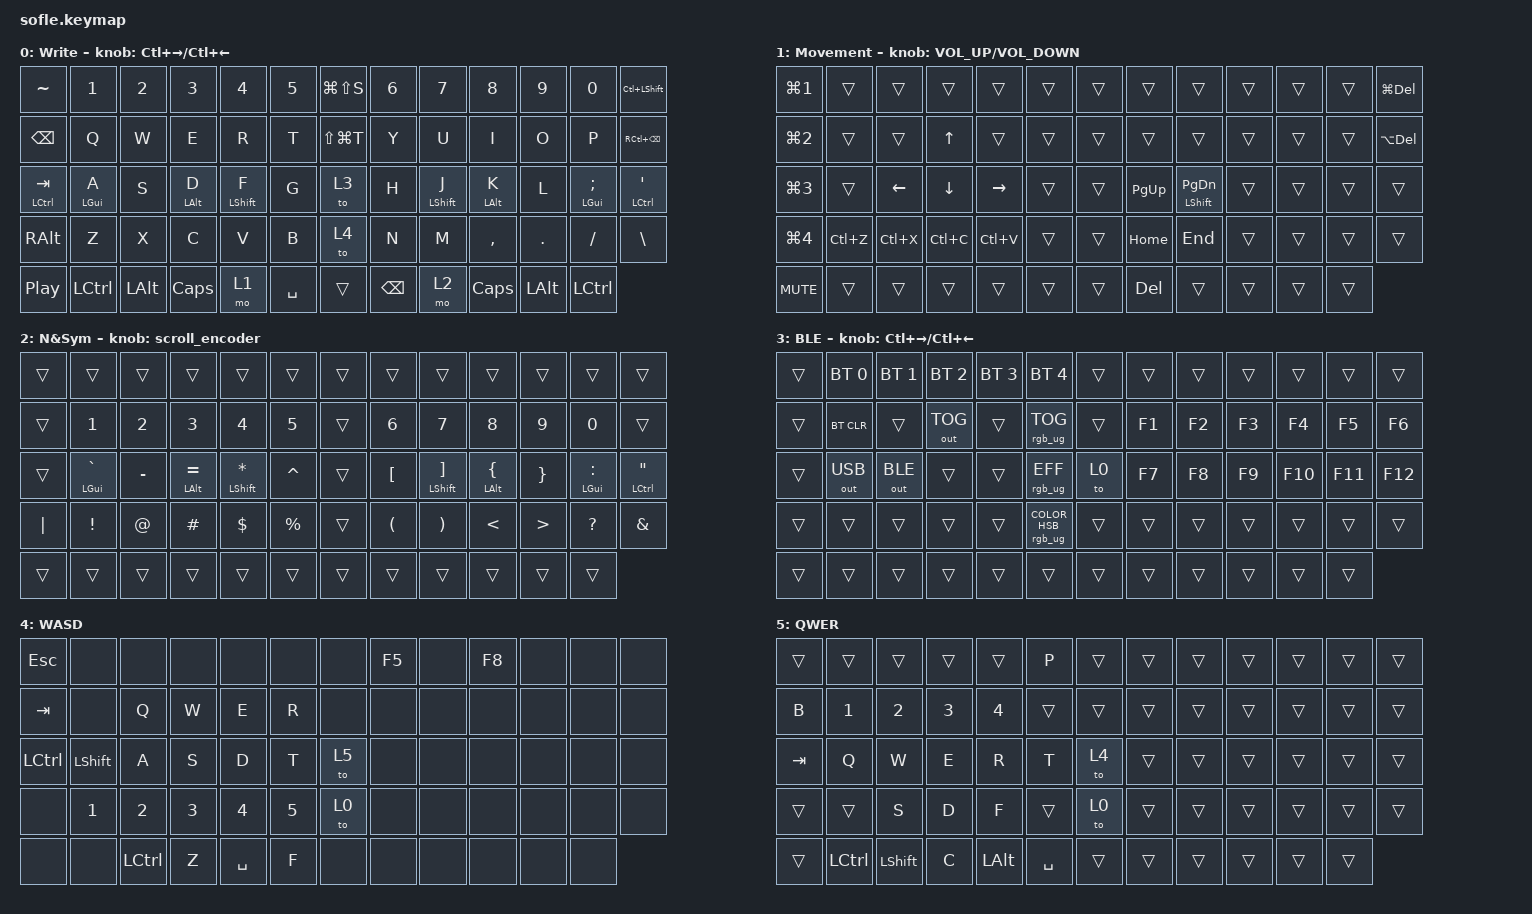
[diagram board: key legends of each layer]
#include <behaviors/mouse_keys.dtsi>
#include <dt-bindings/zmk/mouse.h>
#include <behaviors.dtsi>
#include <dt-bindings/zmk/bt.h>
#include <dt-bindings/zmk/keys.h>
#include <dt-bindings/zmk/outputs.h>
#include <dt-bindings/zmk/pointing.h>
#include <dt-bindings/zmk/rgb.h>

#define ZMK_MOUSE_DEFAULT_MOVE_VAL 1200  // 600
#define ZMK_MOUSE_DEFAULT_SCRL_VAL 20    // 10
#define U_MS_U &mmv MOVE_UP
#define U_MS_D &mmv MOVE_DOWN
#define U_MS_L &mmv MOVE_LEFT
#define U_MS_R &mmv MOVE_RIGHT
#define ZMK_MOUSE_DEFAULT_MOVE_VAL 1200  //  600
#define ZMK_MOUSE_DEFAULT_SCRL_VAL 20    // 10

&mt {
    flavor = "tap-preferred";
    tapping-term-ms = <200>;
};

/ {
    behaviors {
        mmv {
            acceleration-exponent = <1>;      // 1
            time-to-max-speed-ms = <900>;    // 40
            delay-ms = <0>;                   // 0
        };

        msc {
            acceleration-exponent = <1>;      // 0
            time-to-max-speed-ms = <400>;      // 500
            delay-ms = <0>;                   //   10
        };
    };

    scroll_encoder: scroll_encoder {
        compatible = "zmk,behavior-sensor-rotate";
        #sensor-binding-cells = <0>;
        bindings = <&msc SCRL_DOWN>, <&msc SCRL_UP>;

        tap-ms = <30>;
    };

    scroll_keypress: scroll_keypress {
        compatible = "zmk,behavior-sensor-rotate-var";
        label = "SCROLL_KEYPRESS";
        #sensor-binding-cells = <2>;
        bindings = <&kp>, <&kp>;
    };

    combos {
        compatible = "zmk,combos";

        return {
            bindings = <&kp RETURN>;
            key-positions = <34 35 36>;
        };

        combo_esc {
            bindings = <&kp ESCAPE>;
            key-positions = <14 15>;
        };
    };

    keymap {
        compatible = "zmk,keymap";

        QWERTY {
            bindings = <
&kp TILDE             &kp NUMBER_1    &kp NUMBER_2  &kp NUMBER_3    &kp NUMBER_4      &kp N5       &kp LG(LS(S))  &kp NUMBER_6   &kp N7            &kp N8          &kp N9        &kp N0             &kp LC(LEFT_SHIFT)
&kp BACKSPACE         &kp Q           &kp W         &kp E           &kp R             &kp T        &kp LS(LG(T))  &kp Y          &kp U             &kp I           &kp O         &kp P              &kp RC(BACKSPACE)
&mt LEFT_CONTROL TAB  &mt LEFT_GUI A  &kp S         &mt LEFT_ALT D  &mt LEFT_SHIFT F  &kp G        &to 3          &kp H          &mt LEFT_SHIFT J  &mt LEFT_ALT K  &kp L         &mt LEFT_GUI SEMI  &mt LEFT_CONTROL APOS
&kp RIGHT_ALT         &kp Z           &kp X         &kp C           &kp V             &kp B        &to 4          &kp N          &kp M             &kp COMMA       &kp DOT       &kp FSLH           &kp BACKSLASH
&kp C_PLAY_PAUSE      &kp LCTRL       &kp LEFT_ALT  &kp CAPSLOCK    &mo 1             &kp SPACE    &trans         &kp BACKSPACE  &mo 2             &kp CAPSLOCK    &kp LEFT_ALT  &kp LEFT_CONTROL
            >;

            sensor-bindings = <&scroll_keypress LC(RIGHT) LC(LEFT)>;
            display-name = "Write";
        };

        Movement {
            bindings = <
&kp LG(NUMBER_1)  &trans     &trans          &trans          &trans           &trans    &trans  &trans      &trans                    &trans  &trans  &trans  &kp LG(DELETE)
&kp LG(NUMBER_2)  &trans     &trans          &kp UP_ARROW    &trans           &trans    &trans  &trans      &trans                    &trans  &trans  &trans  &kp LA(DELETE)
&kp LG(NUMBER_3)  &trans     &kp LEFT_ARROW  &kp DOWN_ARROW  &kp RIGHT_ARROW  &trans    &trans  &kp PG_UP   &mt LEFT_SHIFT PAGE_DOWN  &trans  &trans  &trans  &trans
&kp LG(NUMBER_4)  &kp LC(Z)  &kp LC(X)       &kp LC(C)       &kp LC(V)        &trans    &trans  &kp HOME    &kp END                   &trans  &trans  &trans  &trans
&kp C_MUTE        &trans     &trans          &trans          &trans           &trans    &trans  &kp DELETE  &trans                    &trans  &trans  &trans
            >;

            display-name = "Movement";
            sensor-bindings = <&inc_dec_kp C_VOLUME_UP C_VOLUME_DOWN>;
        };

        NumsSymbs {
            bindings = <
&trans    &trans              &trans        &trans              &trans                   &trans         &trans  &trans                &trans                        &trans                   &trans            &trans              &trans
&trans    &kp NUMBER_1        &kp NUMBER_2  &kp NUMBER_3        &kp NUMBER_4             &kp N5         &trans  &kp NUMBER_6          &kp N7                        &kp N8                   &kp N9            &kp N0              &trans
&trans    &mt LEFT_GUI GRAVE  &kp MINUS     &mt LEFT_ALT EQUAL  &mt LEFT_SHIFT ASTERISK  &kp CARET      &trans  &kp LEFT_BRACKET      &mt LEFT_SHIFT RIGHT_BRACKET  &mt LEFT_ALT LEFT_BRACE  &kp RIGHT_BRACE   &mt LEFT_GUI COLON  &mt LEFT_CONTROL DOUBLE_QUOTES
&kp PIPE  &kp EXCLAMATION     &kp AT        &kp HASH            &kp DOLLAR               &kp PERCENT    &trans  &kp LEFT_PARENTHESIS  &kp RIGHT_PARENTHESIS         &kp LESS_THAN            &kp GREATER_THAN  &kp QUESTION        &kp AMPERSAND
&trans    &trans              &trans        &trans              &trans                   &trans         &trans  &trans                &trans                        &trans                   &trans            &trans
            >;

            sensor-bindings = <&scroll_encoder>;
            label = "N&Sym";
        };

        BLE {
            bindings = <
&trans  &bt BT_SEL 0  &bt BT_SEL 1  &bt BT_SEL 2  &bt BT_SEL 3  &bt BT_SEL 4                       &trans  &trans  &trans  &trans  &trans   &trans   &trans
&trans  &bt BT_CLR    &trans        &out OUT_TOG  &trans        &rgb_ug RGB_TOG                    &trans  &kp F1  &kp F2  &kp F3  &kp F4   &kp F5   &kp F6
&trans  &out OUT_USB  &out OUT_BLE  &trans        &trans        &rgb_ug RGB_EFF                    &to 0   &kp F7  &kp F8  &kp F9  &kp F10  &kp F11  &kp F12
&trans  &trans        &trans        &trans        &trans        &rgb_ug RGB_COLOR_HSB(54,68,76)    &trans  &trans  &trans  &trans  &trans   &trans   &trans
&trans  &trans        &trans        &trans        &trans        &trans                             &trans  &trans  &trans  &trans  &trans   &trans
            >;

            sensor-bindings = <&scroll_keypress LC(RIGHT) LC(LEFT)>;
            label = "BLE";
        };

        GamingWASD {
            bindings = <
&kp ESCAPE        &none           &none             &none         &none         &none     &none  &kp F5  &none  &kp F8  &none  &none  &none
&kp TAB           &none           &kp Q             &kp W         &kp E         &kp R     &none  &none   &none  &none   &none  &none  &none
&kp LEFT_CONTROL  &kp LEFT_SHIFT  &kp A             &kp S         &kp D         &kp T     &to 5  &none   &none  &none   &none  &none  &none
&none             &kp NUMBER_1    &kp NUMBER_2      &kp NUMBER_3  &kp NUMBER_4  &kp N5    &to 0  &none   &none  &none   &none  &none  &none
&none             &none           &kp LEFT_CONTROL  &kp Z         &kp SPACE     &kp F     &none  &none   &none  &none   &none  &none
            >;

            label = "WASD";
        };

        LoL {
            bindings = <
&trans   &trans            &trans          &trans        &trans        &kp P        &trans  &trans  &trans  &trans  &trans  &trans  &trans
&kp B    &kp NUMBER_1      &kp NUMBER_2    &kp NUMBER_3  &kp NUMBER_4  &trans       &trans  &trans  &trans  &trans  &trans  &trans  &trans
&kp TAB  &kp Q             &kp W           &kp E         &kp R         &kp T        &to 4   &trans  &trans  &trans  &trans  &trans  &trans
&trans   &trans            &kp S           &kp D         &kp F         &trans       &to 0   &trans  &trans  &trans  &trans  &trans  &trans
&trans   &kp LEFT_CONTROL  &kp LEFT_SHIFT  &kp C         &kp LEFT_ALT  &kp SPACE    &trans  &trans  &trans  &trans  &trans  &trans
            >;

            label = "QWER";
        };
    };

    conditional_layers { compatible = "zmk,conditional-layers"; };
};
